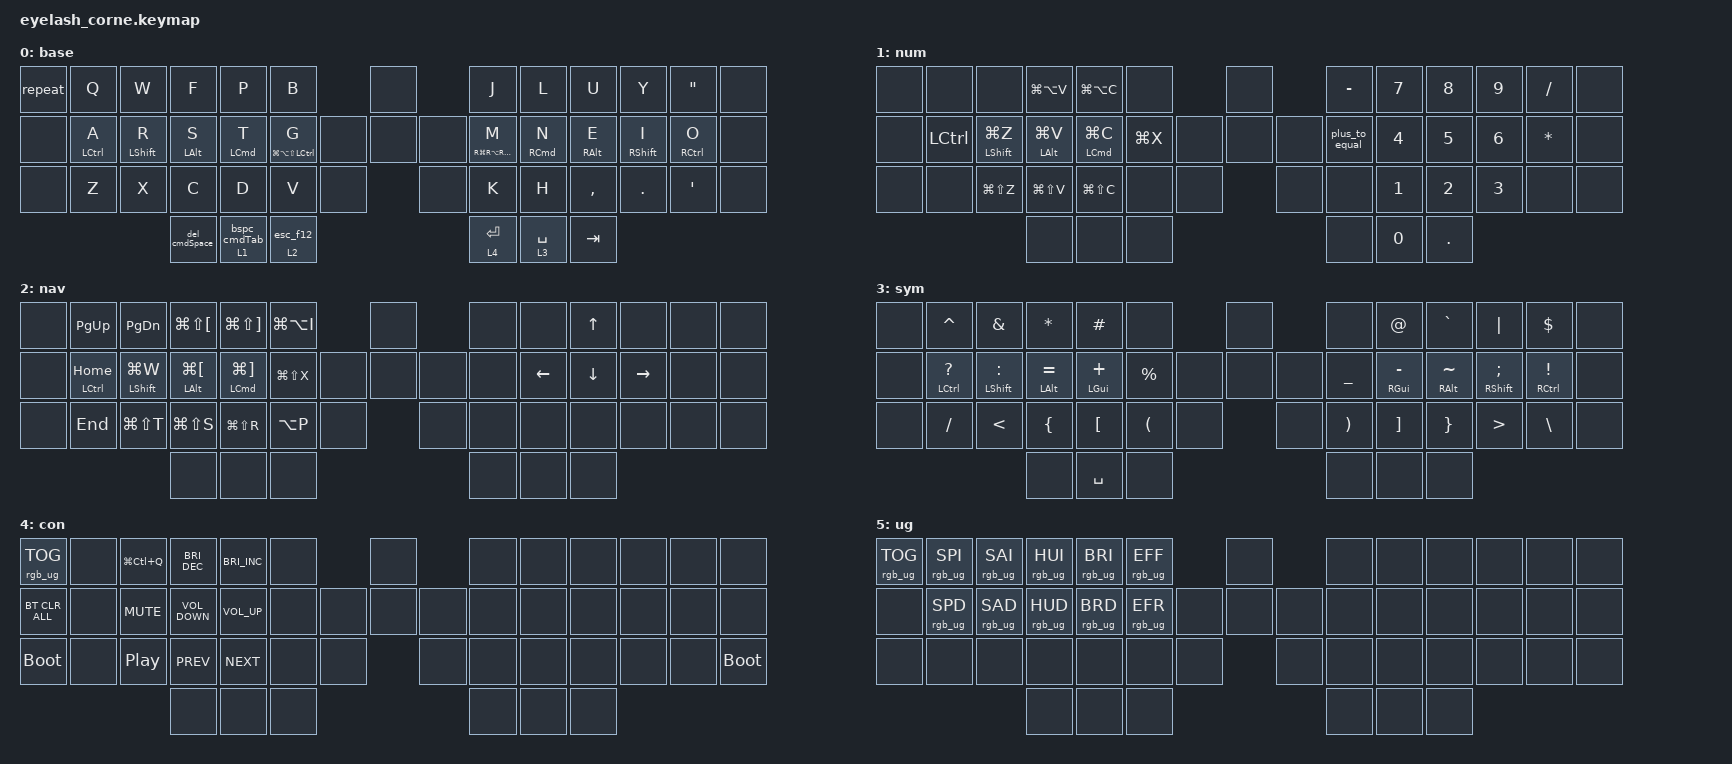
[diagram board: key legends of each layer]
#define ZMK_POINTING_DEFAULT_MOVE_VAL 1200  // 600
#define ZMK_POINTING_DEFAULT_SCRL_VAL 25   // 10

#include <input/processors.dtsi>
#include <zephyr/dt-bindings/input/input-event-codes.h>
#include <behaviors.dtsi>
#include <dt-bindings/zmk/bt.h>
#include <dt-bindings/zmk/keys.h>
#include <dt-bindings/zmk/rgb.h>

&mmv_input_listener { input-processors = <&zip_xy_scaler 2 1>; };

&msc_input_listener { input-processors = <&zip_scroll_scaler 2 1>; };

/ {
    behaviors {
        // left thumb key 1

        esc_f12: esc_f12 {
            compatible = "zmk,behavior-mod-morph";
            label = "ESC_F12";
            #binding-cells = <0>;
            bindings = <&kp ESC>, <&kp F12>;

            mods = <(MOD_LGUI)>;
        };

        layer_esc_f12: layer_esc_f12 {
            compatible = "zmk,behavior-hold-tap";
            label = "LAYER_ESC_F12";
            #binding-cells = <2>;
            bindings = <&mo>, <&esc_f12>;

            tapping-term-ms = <200>;
        };

        // left thumb key 2

        bspc_ctrlTab: backspace_ctrlTab {
            compatible = "zmk,behavior-mod-morph";
            label = "BACKSPACE_CTRLTAB";
            #binding-cells = <0>;
            bindings = <&kp BACKSPACE>, <&ctrlTab>;

            mods = <(MOD_LALT)>;
        };

        bspc_cmdTab: backspace_cmdTab {
            compatible = "zmk,behavior-mod-morph";
            label = "BACKSPACE_CMDTAB";
            #binding-cells = <0>;
            bindings = <&bspc_ctrlTab>, <&kp TAB>;

            mods = <(MOD_LGUI)>;
            keep-mods = <(MOD_LGUI)>;
        };

        layer_bspc_cmdTab: layer_bspc_cmdTab {
            compatible = "zmk,behavior-hold-tap";
            label = "LAYER_BACKSPACE_CMDTAB";
            #binding-cells = <2>;
            bindings = <&mo>, <&bspc_cmdTab>;

            tapping-term-ms = <200>;
        };

        // left thumb key 3

        del_cmdSpace: backspace_cmdSpace {
            compatible = "zmk,behavior-mod-morph";
            label = "DELETE_CMDSPACE";
            #binding-cells = <0>;
            bindings = <&kp DELETE>, <&kp SPACE>;

            mods = <(MOD_LGUI)>;
            keep-mods = <(MOD_LGUI)>;
        };

        plus_to_equal: plus_to_equal {
            compatible = "zmk,behavior-mod-morph";
            label = "PLUS_TO_EQUAL";
            bindings = <&kp PLUS>, <&kp EQUAL>;

            #binding-cells = <0>;
            mods = <(MOD_LGUI)>;
            keep-mods = <(MOD_LGUI)>;
        };

        caps_word: caps_word {
            compatible = "zmk,behavior-caps-word";
            label = "CAPS_WORD";
            #binding-cells = <0>;
            continue-list = <A B C D E F G H I J K L M N O P Q R S T U V W X Y Z UNDERSCORE BACKSPACE DELETE>;
        };

        repeat: repeat {
            compatible = "zmk,behavior-key-repeat";
            label = "REPEAT";
            #binding-cells = <0>;
            usage-pages = <HID_USAGE_KEY HID_USAGE_CONSUMER>;
        };
    };

    combos {
        compatible = "zmk,combos";

        toggle-ug {
            bindings = <&tog 5>;
            key-positions = <42 47>;
            layers = <0 5>;
        };

        double_shift {
            bindings = <&caps_word>;
            key-positions = <15 25>;
            layers = <0>;
        };
    };

    macros {
        ctrlTab: ctrlTab {
            compatible = "zmk,behavior-macro";
            #binding-cells = <0>;
            bindings = <&kp LC(TAB)>;
            label = "CTRLTAB";
        };
    };

    keymap {
        compatible = "zmk,keymap";

        Base {
            display-name = "base";
            bindings = <
&repeat  &kp Q        &kp W         &kp F           &kp P                   &kp B                                           &none         &kp J                            &kp L        &kp U       &kp Y        &kp DOUBLE_QUOTES  &none
&none    &mt LCTRL A  &mt LSHIFT R  &mt LEFT_ALT S  &mt LCMD T              &mt LG(LA(LS(LEFT_CONTROL))) G           &none  &none  &none  &mt RG(RA(RS(RIGHT_CONTROL))) M  &mt RCMD N   &mt RALT E  &mt RSHFT I  &mt RCTRL O        &none
&none    &kp Z        &kp X         &kp C           &kp D                   &kp V                           &none           &none         &kp K                            &kp H        &kp COMMA   &kp PERIOD   &kp APOSTROPHE     &none
                                    &del_cmdSpace   &layer_bspc_cmdTab 1 0  &layer_esc_f12 2 0                                            &lt 4 RETURN                     &lt 3 SPACE  &kp TAB
            >;

            // sensor-bindings = <&inc_dec_kp C_VOLUME_UP C_VOLUME_DOWN>;
        };

        Number {
            bindings = <
&none  &none      &none             &kp LG(LA(V))   &kp LG(LA(C))   &none                      &none         &kp MINUS       &kp N7  &kp N8      &kp N9  &kp SLASH     &none
&none  &kp LCTRL  &mt LSHIFT LG(Z)  &mt LALT LG(V)  &mt LCMD LG(C)  &kp LG(X)           &none  &none  &none  &plus_to_equal  &kp N4  &kp N5      &kp N6  &kp ASTERISK  &none
&none  &none      &kp LG(LS(Z))     &kp LG(LS(V))   &kp LG(LS(C))   &none      &none           &none         &none           &kp N1  &kp N2      &kp N3  &none         &none
                                    &none           &none           &none                                    &none           &kp N0  &kp PERIOD
            >;

            label = "num";
        };

        Navigation {
            display-name = "nav";
            bindings = <
&none  &kp PAGE_UP     &kp PAGE_DOWN         &kp LG(LS(LEFT_BRACKET))   &kp LG(LS(RIGHT_BRACKET))   &kp LG(LA(I))                  &none         &none  &none     &kp UP_ARROW  &none      &none  &none
&none  &mt LCTRL HOME  &mt LEFT_SHIFT LG(W)  &mt LALT LG(LEFT_BRACKET)  &mt LCMD LG(RIGHT_BRACKET)  &kp LG(LS(X))           &none  &none  &none  &none  &kp LEFT  &kp DOWN      &kp RIGHT  &none  &none
&none  &kp END         &kp LG(LS(T))         &kp LG(LS(S))              &kp LG(LS(R))               &kp LA(P)      &none           &none         &none  &none     &none         &none      &none  &none
                                             &none                      &none                       &none                                        &none  &none     &none
            >;
        };

        Symbol {
            label = "sym";
            bindings = <
&none  &kp CARET           &kp AMPS          &kp ASTERISK    &kp HASH          &none                                 &none         &none                  &kp AT             &kp GRAVE        &kp PIPE              &kp DOLLAR             &none
&none  &mt LCTRL QUESTION  &mt LSHIFT COLON  &mt LALT EQUAL  &mt LGUI PLUS     &kp PERCENT                    &none  &none  &none  &kp UNDER              &mt RGUI MINUS     &mt RALT TILDE   &mt RSHIFT SEMICOLON  &mt RCTRL EXCLAMATION  &none
&none  &kp SLASH           &kp LESS_THAN     &kp LEFT_BRACE  &kp LEFT_BRACKET  &kp LEFT_PARENTHESIS  &none           &none         &kp RIGHT_PARENTHESIS  &kp RIGHT_BRACKET  &kp RIGHT_BRACE  &kp GREATER_THAN      &kp BACKSLASH          &none
                                             &none           &kp SPACE         &none                                               &none                  &none              &none
            >;
        };

        Control {
            label = "con";
            bindings = <
&rgb_ug RGB_TOG  &none  &kp LG(LC(Q))  &kp C_BRIGHTNESS_DEC  &kp C_BRIGHTNESS_INC  &none                  &none         &none  &none  &none  &none  &none  &none
&bt BT_CLR_ALL   &none  &kp C_MUTE     &kp C_VOLUME_DOWN     &kp C_VOLUME_UP       &none           &none  &none  &none  &none  &none  &none  &none  &none  &none
&bootloader      &none  &kp C_PP       &kp C_PREV            &kp C_NEXT            &none  &none           &none         &none  &none  &none  &none  &none  &bootloader
                                       &none                 &none                 &none                                &none  &none  &none
            >;
        };

        Underglow {
            bindings = <
&rgb_ug RGB_TOG  &rgb_ug RGB_SPI  &rgb_ug RGB_SAI  &rgb_ug RGB_HUI  &rgb_ug RGB_BRI  &rgb_ug RGB_EFF                  &none         &none  &none  &none  &none  &none  &none
&none            &rgb_ug RGB_SPD  &rgb_ug RGB_SAD  &rgb_ug RGB_HUD  &rgb_ug RGB_BRD  &rgb_ug RGB_EFR           &none  &none  &none  &none  &none  &none  &none  &none  &none
&none            &none            &none            &none            &none            &none            &none           &none         &none  &none  &none  &none  &none  &none
                                                   &none            &none            &none                                          &none  &none  &none
            >;

            label = "ug";
        };
    };
};
